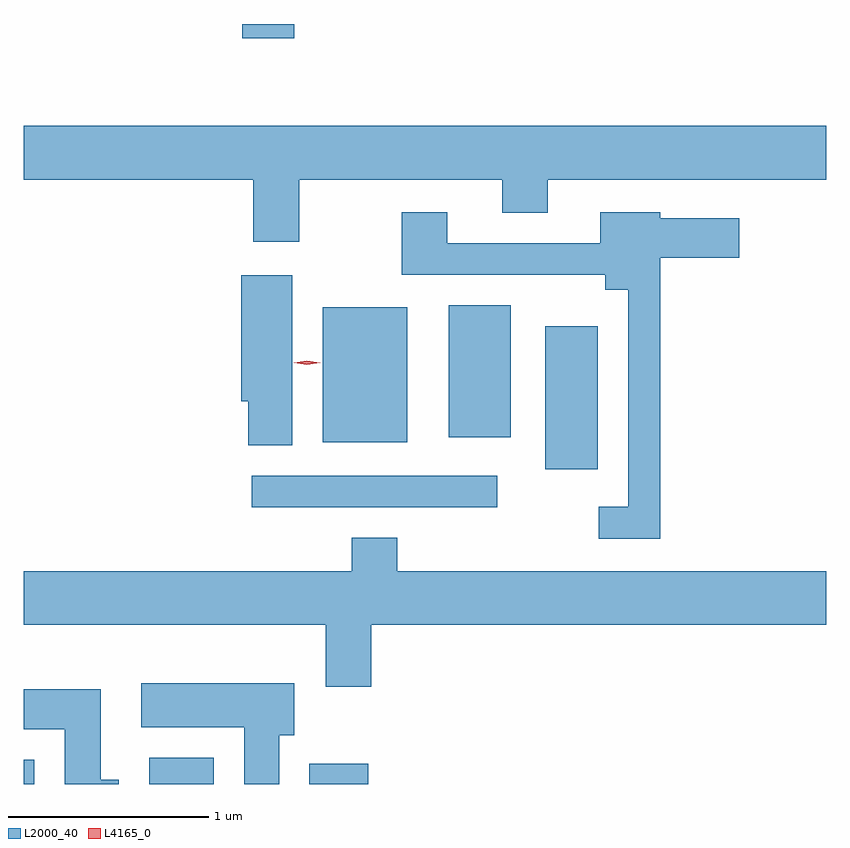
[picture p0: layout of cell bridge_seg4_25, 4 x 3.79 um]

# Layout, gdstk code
import gdstk
lib = gdstk.Library(unit=1e-6, precision=1e-09)
def R(c, l, rs):  # rectangles x0, y0, x1, y1
    for r in rs: c.add(gdstk.rectangle(r[:2], r[2:], *l))
def P(c, l, *ps):  # polygons
    for p in ps: c.add(gdstk.Polygon(p, *l))
L2000_40 = (2000, 40)
L4165_0 = (4165, 0)

bridge_seg4_25 = lib.new_cell('bridge_seg4_25')
R(bridge_seg4_25, L2000_40, [(1203.927,1253.982,1203.979,1254.104), (1204.551,1253.982,1204.874,1254.114), (1205.351,1253.982,1205.644,1254.084), (1205.063,1255.361,1206.288,1255.519), (1206.526,1255.551,1206.789,1256.264), (1205.416,1255.686,1205.839,1256.359), (1206.046,1255.711,1206.354,1256.369), (1205.016,1257.701,1205.274,1257.772)])
P(bridge_seg4_25, L2000_40, [(1205.299,1256.996),(1206.311,1256.996),(1206.311,1256.831),(1206.539,1256.831),(1206.539,1256.996),(1207.927,1256.996),(1207.927,1257.264),(1203.927,1257.264),(1203.927,1256.996),(1205.071,1256.996),(1205.071,1256.686),(1205.299,1256.686)],
  [(1207.099,1256.606),(1207.494,1256.606),(1207.494,1256.804),(1207.099,1256.804),(1207.099,1256.834),(1206.801,1256.834),(1206.801,1256.679),(1206.039,1256.679),(1206.039,1256.834),(1205.811,1256.834),(1205.811,1256.521),(1206.826,1256.521),(1206.826,1256.446),(1206.941,1256.446),(1206.941,1255.364),(1206.793,1255.364),(1206.793,1255.206),(1207.099,1255.206)],
  [(1205.264,1256.519),(1205.011,1256.519),(1205.011,1255.891),(1205.046,1255.891),(1205.046,1255.671),(1205.264,1255.671)],
  [(1205.659,1254.776),(1207.927,1254.776),(1207.927,1255.044),(1205.789,1255.044),(1205.789,1255.209),(1205.561,1255.209),(1205.561,1255.044),(1203.927,1255.044),(1203.927,1254.776),(1205.431,1254.776),(1205.431,1254.466),(1205.659,1254.466)],
  [(1205.199,1254.226),(1205.274,1254.226),(1205.274,1254.484),(1204.511,1254.484),(1204.511,1254.266),(1205.026,1254.266),(1205.026,1253.982),(1205.199,1253.982)],
  [(1204.399,1254.004),(1204.309,1254.004),(1204.309,1254.454),(1203.927,1254.454),(1203.927,1254.256),(1204.131,1254.256),(1204.131,1253.982),(1204.399,1253.982)])
P(bridge_seg4_25, L4165_0, [(1205.338,1256.072),(1205.272,1256.082),(1205.272,1256.082),(1205.272,1256.083),(1205.338,1256.092),(1205.404,1256.083),(1205.405,1256.082),(1205.404,1256.082)])

lib.write_gds('bridge_seg4_25.gds')
